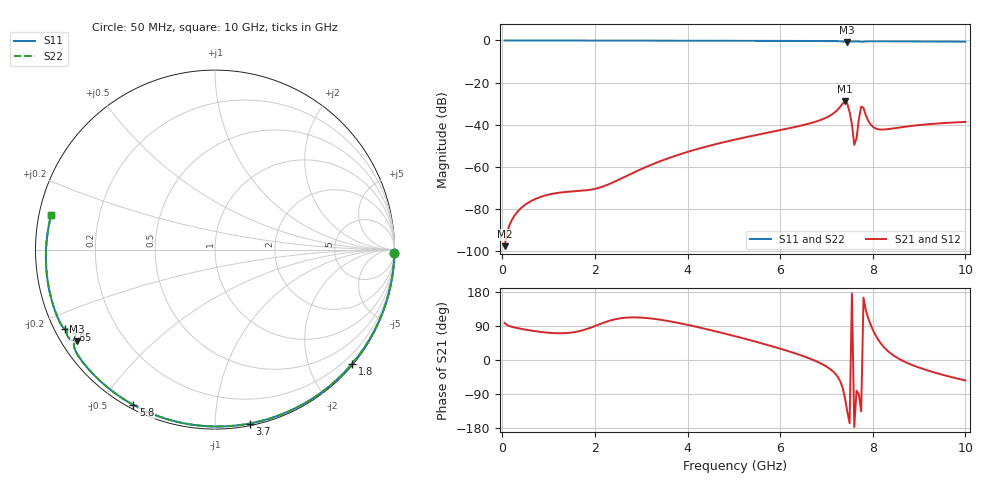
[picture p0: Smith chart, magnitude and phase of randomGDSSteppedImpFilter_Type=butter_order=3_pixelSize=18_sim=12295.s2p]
! freq	dB(S11)	phase(S11)	dB(S12)	phase(S12)
!  dB(S21)	phase(S21)	dB(S22)	phase(S22)
!S-par simulation data
#  GHz  S  DB  R 50
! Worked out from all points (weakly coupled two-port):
!   200 points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, 50 MHz to 10 GHz, reference 50 ohm
!   highest |S21| = -28.95 dB at 7.4 GHz (marker M1); lowest = -97.8 dB at 50 MHz (marker M2)
!   lowest |S11| = -0.7 dB at 7.45 GHz (marker M3), VSWR 25.54, Z = 2.14 - j15.1 ohm
!   |S11| at or under -10 dB: nowhere
!   |S22| runs from -0.7 to 0.0 dB; largest |S21 - S12| = 0
!   S11 on the Smith chart (normalised r, x): 50 MHz: open; 1.8 GHz: 0.03, -2.76; 3.7 GHz: 0.02, -1.22; 5.8 GHz: 0.02, -0.60; 7.85 GHz: 0.03, -0.25; 10 GHz: 0.04, +0.11
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0.05  -0.00 -1.1  -97.84 97.7  -97.84 97.7  -0.00 -1.1
0.4  -0.01 -9.0  -79.83 82.4  -79.83 82.4  -0.01 -9.0
1  -0.03 -22.4  -73.32 71.9  -73.32 71.9  -0.03 -22.4
1.75  -0.05 -38.7  -71.43 78.9  -71.43 78.9  -0.05 -38.7
1.8  -0.05 -39.8  -71.32 80.8  -71.32 80.8  -0.05 -39.8
3.4  -0.10 -72.9  -57.52 106.5  -57.52 106.5  -0.10 -72.9
3.7  -0.11 -78.8  -55.14 100.2  -55.14 100.2  -0.11 -78.8
5.05  -0.16 -104.2  -47.02 62.1  -47.02 62.1  -0.16 -104.3
5.8  -0.20 -117.8  -43.55 37.1  -43.55 37.1  -0.20 -117.8
6.7  -0.26 -133.7  -39.08 0.7  -39.08 0.7  -0.26 -133.7
7.1  -0.30 -141.0  -35.45 -25.9  -35.45 -25.9  -0.30 -141.0
7.4  -0.62 -146.8  -28.95 -100.6  -28.95 -100.6  -0.62 -146.8
7.45  -0.68 -146.4  -30.06 -136.4  -30.06 -136.4  -0.68 -146.4
7.55  -0.48 -147.4  -39.88 175.4  -39.88 175.4  -0.48 -147.4
7.6  -0.44 -148.6  -49.66 -176.9  -49.66 -176.9  -0.44 -148.6
7.65  -0.43 -149.8  -46.56 -81.2  -46.56 -81.2  -0.43 -149.8
7.7  -0.48 -151.1  -37.40 -91.0  -37.40 -91.0  -0.48 -151.1
7.75  -0.66 -151.7  -31.46 -135.5  -31.46 -135.5  -0.67 -151.7
7.85  -0.47 -152.0  -35.50 131.4  -35.50 131.4  -0.47 -152.0
8.05  -0.40 -156.1  -41.75 67.8  -41.75 67.8  -0.40 -156.1
8.35  -0.42 -161.6  -42.12 21.1  -42.12 21.1  -0.42 -161.6
10  -0.61 168.0  -38.75 -54.0  -38.75 -54.0  -0.61 168.0
